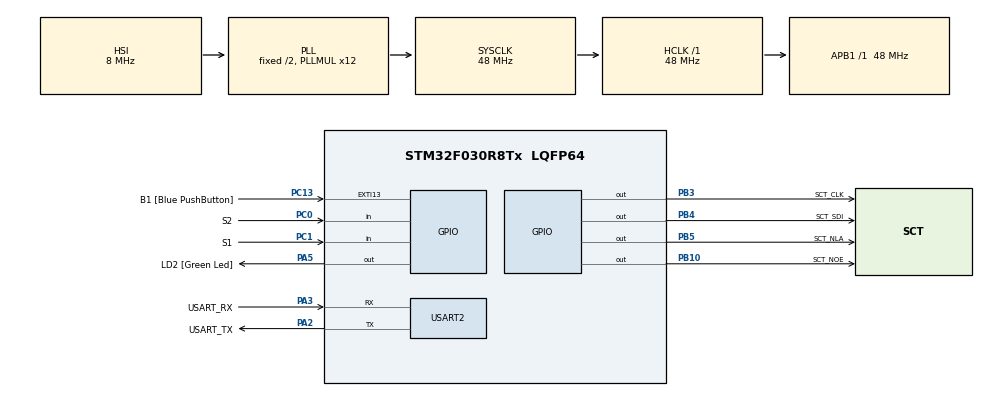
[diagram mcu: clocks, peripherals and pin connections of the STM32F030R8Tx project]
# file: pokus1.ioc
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Mcu.Family=STM32F0
Mcu.Name=STM32F030R8Tx
Mcu.Package=LQFP64
PA13.GPIO_Label=TMS
PA13.Mode=Serial_Wire
PA13.Signal=SYS_SWDIO
PA14.GPIO_Label=TCK
PA14.Mode=Serial_Wire
PA14.Signal=SYS_SWCLK
PA2.GPIO_Label=USART_TX
PA2.GPIO_Mode=GPIO_MODE_AF_PP
PA2.GPIO_PuPd=GPIO_NOPULL
PA2.GPIO_Speed=GPIO_SPEED_FREQ_LOW
PA2.Mode=Asynchronous
PA2.Signal=USART2_TX
PA3.GPIO_Label=USART_RX
PA3.GPIO_Mode=GPIO_MODE_AF_PP
PA3.GPIO_PuPd=GPIO_NOPULL
PA3.GPIO_Speed=GPIO_SPEED_FREQ_LOW
PA3.Mode=Asynchronous
PA3.Signal=USART2_RX
PA5.GPIO_Label=LD2 [Green Led]
PA5.GPIO_Mode=GPIO_MODE_OUTPUT_PP
PA5.GPIO_PuPd=GPIO_NOPULL
PA5.GPIO_Speed=GPIO_SPEED_FREQ_LOW
PA5.Signal=GPIO_Output
PB10.GPIO_Label=SCT_NOE
PB10.Signal=GPIO_Output
PB3.GPIO_Label=SCT_CLK
PB3.Signal=GPIO_Output
PB4.GPIO_Label=SCT_SDI
PB4.Signal=GPIO_Output
PB5.GPIO_Label=SCT_NLA
PB5.Signal=GPIO_Output
PC0.GPIO_Label=S2
PC0.Signal=GPIO_Input
PC1.GPIO_Label=S1
PC1.Signal=GPIO_Input
PC13.GPIO_Label=B1 [Blue PushButton]
PC13.GPIO_ModeDefaultEXTI=GPIO_MODE_IT_FALLING
PC13.Signal=GPXTI13
PC14-OSC32_IN.Mode=LSE-External-Oscillator
PC14-OSC32_IN.Signal=RCC_OSC32_IN
PC15-OSC32_OUT.Mode=LSE-External-Oscillator
PC15-OSC32_OUT.Signal=RCC_OSC32_OUT
PF0-OSC_IN.Mode=HSE-External-Clock-Source
PF0-OSC_IN.Signal=RCC_OSC_IN
PF1-OSC_OUT.Signal=RCC_OSC_OUT
ProjectManager.HeapSize=0x200
ProjectManager.StackSize=0x400
ProjectManager.TargetToolchain=STM32CubeIDE
RCC.AHBFreq_Value=48000000
RCC.APB1Freq_Value=48000000
RCC.APB1TimFreq_Value=48000000
RCC.HCLKFreq_Value=48000000
RCC.PLLMUL=RCC_PLL_MUL12
RCC.SYSCLKFreq_VALUE=48000000
RCC.SYSCLKSource=RCC_SYSCLKSOURCE_PLLCLK
USART2.VirtualMode-Asynchronous=VM_ASYNC
board=NUCLEO-F030R8

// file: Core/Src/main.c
/* USER CODE BEGIN Header */
/**
  ******************************************************************************
  * @file           : main.c
  * @brief          : Main program body
  ******************************************************************************
  * @attention
  *
  * <h2><center>&copy; Copyright (c) 2021 STMicroelectronics.
  * All rights reserved.</center></h2>
  *
  * This software component is licensed by ST under BSD 3-Clause license,
  * the "License"; You may not use this file except in compliance with the
  * License. You may obtain a copy of the License at:
  *                        opensource.org/licenses/BSD-3-Clause
  *
  ******************************************************************************
  */
/* USER CODE END Header */
#include "main.h"

/* USER CODE BEGIN Includes */
#include "sct.h"
/* USER CODE END Includes */

UART_HandleTypeDef huart2;

/* USER CODE BEGIN PV */
uint32_t time = 0;
/* USER CODE END PV */

void SystemClock_Config(void);
static void MX_GPIO_Init(void);
static void MX_USART2_UART_Init(void);

int main(void)
{

  /* MCU Configuration--------------------------------------------------------*/

  /* Reset of all peripherals, Initializes the Flash interface and the Systick. */
  HAL_Init();

  /* Configure the system clock */
  SystemClock_Config();

  /* Initialize all configured peripherals */
  MX_GPIO_Init();
  MX_USART2_UART_Init();
  /* USER CODE BEGIN 2 */
  sct_init();

  static enum { START,  STOP , RESET } state_S2 = RESET; //stavy pro S2
  static enum { ZOBRAZIT , SKRYT } state_S1 = ZOBRAZIT; //stavy pro S1

  /* USER CODE END 2 */

  /* Infinite loop */
  while (1)
  {

    /* USER CODE BEGIN 3 */
	  static uint32_t delay;
	  static uint32_t rozdil;
	  static uint32_t mezicas;
	  sct_value(time); // vypisovani na 7-segment

	  if(HAL_GPIO_ReadPin(S1_GPIO_Port, S1_Pin)==0)
	  {
		  if (state_S1 == ZOBRAZIT)state_S1 = SKRYT; // pokud se sepne S1 dochazi ke zmene stavu
		  else state_S1 = ZOBRAZIT;
	  }

	  if (state_S1 == ZOBRAZIT )
	  {
		  time = mezicas;	// pokud je stav ZOBRAZIT, dochazi k prekreslovani displeje kazdym pruchodem while
	  }
	  if (state_S1 == SKRYT )
	  {
		  time = time; // pokud je stav SKRYT, zobrazovani se pozastavi
	  }

	  if (state_S2 == RESET)
	  {
		  mezicas = 0;	// reset casu
	  }

	  if(state_S2 == START)
	  {
		  delay = HAL_GetTick()/100;	//zjisteni aktualniho ticku
		  mezicas = delay - rozdil; // rozdil aktualniho ticku od sepnuti tlacitka S2
	  }
	  if(state_S2 == STOP)
	  {
		  // pokud je je nastaven stav STOP, nedochazi k vypoctu rozdilu, a tak se na displeji zobrazuje posledni hodnota
	  }
	  if(HAL_GPIO_ReadPin(S2_GPIO_Port, S2_Pin)==0)	// zmena stavu pri spinani S2
	  {
		if (state_S2 == RESET)
		{
			state_S2 = START;
			rozdil = HAL_GetTick()/100; // pocatecni tick pri sepnuti od ktereho se vypocitava aktualni
		}
		else if (state_S2 == START)
		{
			state_S2 = STOP;

		}
		else if (state_S2 == STOP)
		{
			state_S2 = RESET;
		}
	  }

  }
  /* USER CODE END 3 */
}

void SystemClock_Config(void)
{
  RCC_OscInitTypeDef RCC_OscInitStruct = {0};
  RCC_ClkInitTypeDef RCC_ClkInitStruct = {0};

  /** Initializes the RCC Oscillators according to the specified parameters
  * in the RCC_OscInitTypeDef structure.
  */
  RCC_OscInitStruct.OscillatorType = RCC_OSCILLATORTYPE_HSI;
  RCC_OscInitStruct.HSIState = RCC_HSI_ON;
  RCC_OscInitStruct.HSICalibrationValue = RCC_HSICALIBRATION_DEFAULT;
  RCC_OscInitStruct.PLL.PLLState = RCC_PLL_ON;
  RCC_OscInitStruct.PLL.PLLSource = RCC_PLLSOURCE_HSI;
  RCC_OscInitStruct.PLL.PLLMUL = RCC_PLL_MUL12;
  RCC_OscInitStruct.PLL.PREDIV = RCC_PREDIV_DIV1;
  if (HAL_RCC_OscConfig(&RCC_OscInitStruct) != HAL_OK)
  {
    Error_Handler();
  }
  /** Initializes the CPU, AHB and APB buses clocks
  */
  RCC_ClkInitStruct.ClockType = RCC_CLOCKTYPE_HCLK|RCC_CLOCKTYPE_SYSCLK
                              |RCC_CLOCKTYPE_PCLK1;
  RCC_ClkInitStruct.SYSCLKSource = RCC_SYSCLKSOURCE_PLLCLK;
  RCC_ClkInitStruct.AHBCLKDivider = RCC_SYSCLK_DIV1;
  RCC_ClkInitStruct.APB1CLKDivider = RCC_HCLK_DIV1;

  if (HAL_RCC_ClockConfig(&RCC_ClkInitStruct, FLASH_LATENCY_1) != HAL_OK)
  {
    Error_Handler();
  }
}

static void MX_USART2_UART_Init(void)
{

  huart2.Instance = USART2;
  huart2.Init.BaudRate = 38400;
  huart2.Init.WordLength = UART_WORDLENGTH_8B;
  huart2.Init.StopBits = UART_STOPBITS_1;
  huart2.Init.Parity = UART_PARITY_NONE;
  huart2.Init.Mode = UART_MODE_TX_RX;
  huart2.Init.HwFlowCtl = UART_HWCONTROL_NONE;
  huart2.Init.OverSampling = UART_OVERSAMPLING_16;
  huart2.Init.OneBitSampling = UART_ONE_BIT_SAMPLE_DISABLE;
  huart2.AdvancedInit.AdvFeatureInit = UART_ADVFEATURE_NO_INIT;
  if (HAL_UART_Init(&huart2) != HAL_OK)
  {
    Error_Handler();
  }

}

static void MX_GPIO_Init(void)
{
  GPIO_InitTypeDef GPIO_InitStruct = {0};

  /* GPIO Ports Clock Enable */
  __HAL_RCC_GPIOC_CLK_ENABLE();
  __HAL_RCC_GPIOF_CLK_ENABLE();
  __HAL_RCC_GPIOA_CLK_ENABLE();
  __HAL_RCC_GPIOB_CLK_ENABLE();

  /*Configure GPIO pin Output Level */
  HAL_GPIO_WritePin(LD2_GPIO_Port, LD2_Pin, GPIO_PIN_RESET);

  /*Configure GPIO pin Output Level */
  HAL_GPIO_WritePin(GPIOB, SCT_NOE_Pin|SCT_CLK_Pin|SCT_SDI_Pin|SCT_NLA_Pin, GPIO_PIN_RESET);

  /*Configure GPIO pin : B1_Pin */
  GPIO_InitStruct.Pin = B1_Pin;
  GPIO_InitStruct.Mode = GPIO_MODE_IT_FALLING;
  GPIO_InitStruct.Pull = GPIO_NOPULL;
  HAL_GPIO_Init(B1_GPIO_Port, &GPIO_InitStruct);

  /*Configure GPIO pins : S2_Pin S1_Pin */
  GPIO_InitStruct.Pin = S2_Pin|S1_Pin;
  GPIO_InitStruct.Mode = GPIO_MODE_INPUT;
  GPIO_InitStruct.Pull = GPIO_NOPULL;
  HAL_GPIO_Init(GPIOC, &GPIO_InitStruct);

  /*Configure GPIO pin : LD2_Pin */
  GPIO_InitStruct.Pin = LD2_Pin;
  GPIO_InitStruct.Mode = GPIO_MODE_OUTPUT_PP;
  GPIO_InitStruct.Pull = GPIO_NOPULL;
  GPIO_InitStruct.Speed = GPIO_SPEED_FREQ_LOW;
  HAL_GPIO_Init(LD2_GPIO_Port, &GPIO_InitStruct);

  /*Configure GPIO pins : SCT_NOE_Pin SCT_CLK_Pin SCT_SDI_Pin SCT_NLA_Pin */
  GPIO_InitStruct.Pin = SCT_NOE_Pin|SCT_CLK_Pin|SCT_SDI_Pin|SCT_NLA_Pin;
  GPIO_InitStruct.Mode = GPIO_MODE_OUTPUT_PP;
  GPIO_InitStruct.Pull = GPIO_NOPULL;
  GPIO_InitStruct.Speed = GPIO_SPEED_FREQ_LOW;
  HAL_GPIO_Init(GPIOB, &GPIO_InitStruct);

}

void Error_Handler(void)
{
}

/************************ (C) COPYRIGHT STMicroelectronics *****END OF FILE****/
